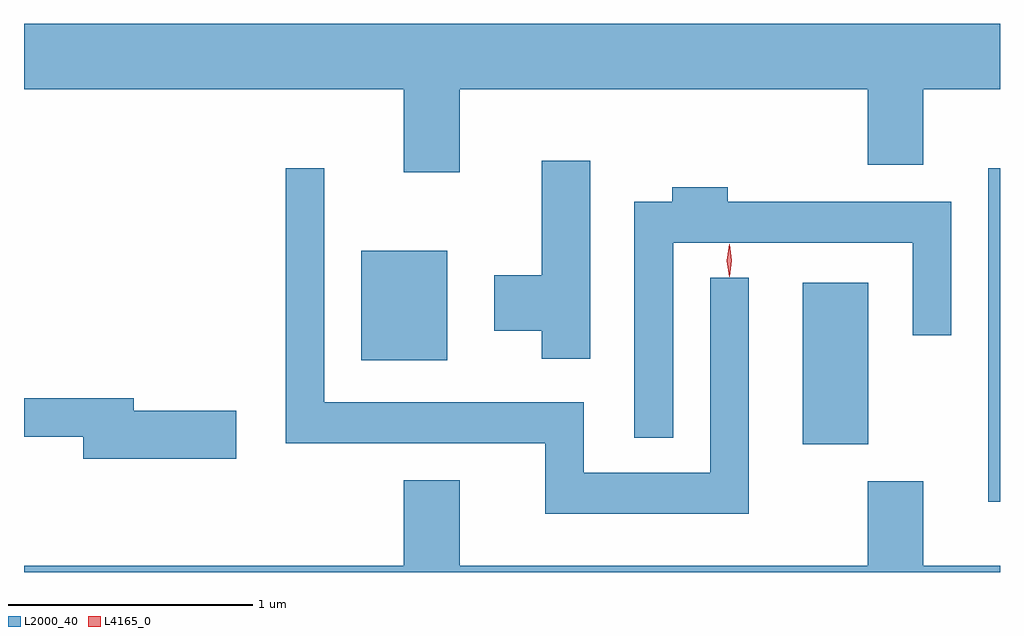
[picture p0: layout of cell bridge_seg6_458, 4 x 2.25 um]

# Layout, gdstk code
import gdstk
lib = gdstk.Library(unit=1e-6, precision=1e-09)
def R(c, l, rs):  # rectangles x0, y0, x1, y1
    for r in rs: c.add(gdstk.rectangle(r[:2], r[2:], *l))
def P(c, l, *ps):  # polygons
    for p in ps: c.add(gdstk.Polygon(p, *l))
L2000_40 = (2000, 40)
L4165_0 = (4165, 0)

bridge_seg6_458 = lib.new_cell('bridge_seg6_458')
R(bridge_seg6_458, L2000_40, [(689.616,1532.806,689.664,1534.173), (688.856,1533.041,689.124,1533.704), (687.046,1533.386,687.399,1533.834)])
P(bridge_seg6_458, L2000_40, [(687.449,1534.496),(689.121,1534.496),(689.121,1534.186),(689.349,1534.186),(689.349,1534.496),(689.664,1534.496),(689.664,1534.764),(685.664,1534.764),(685.664,1534.496),(687.221,1534.496),(687.221,1534.156),(687.449,1534.156)],
  [(687.984,1534.204),(687.786,1534.204),(687.786,1533.734),(687.591,1533.734),(687.591,1533.506),(687.786,1533.506),(687.786,1533.391),(687.984,1533.391)],
  [(688.634,1533.723),(688.476,1533.723),(688.476,1532.924),(687.959,1532.924),(687.959,1533.214),(686.894,1533.214),(686.894,1534.173),(686.736,1534.173),(686.736,1533.046),(687.801,1533.046),(687.801,1532.756),(688.634,1532.756)],
  [(688.324,1533.866),(689.306,1533.866),(689.306,1533.488),(689.464,1533.488),(689.464,1534.034),(688.549,1534.034),(688.549,1534.094),(688.321,1534.094),(688.321,1534.034),(688.166,1534.034),(688.166,1533.068),(688.324,1533.068)],
  [(686.534,1533.179),(686.114,1533.179),(686.114,1533.229),(685.664,1533.229),(685.664,1533.071),(685.906,1533.071),(685.906,1532.981),(686.534,1532.981)],
  [(689.664,1532.544),(689.349,1532.544),(689.349,1532.889),(689.121,1532.889),(689.121,1532.544),(687.449,1532.544),(687.449,1532.894),(687.221,1532.894),(687.221,1532.544),(685.664,1532.544),(685.664,1532.517),(689.664,1532.517)])
P(bridge_seg6_458, L4165_0, [(688.554,1533.727),(688.545,1533.794),(688.554,1533.86),(688.555,1533.861),(688.556,1533.86),(688.565,1533.794),(688.556,1533.727),(688.555,1533.727)])

lib.write_gds('bridge_seg6_458.gds')
